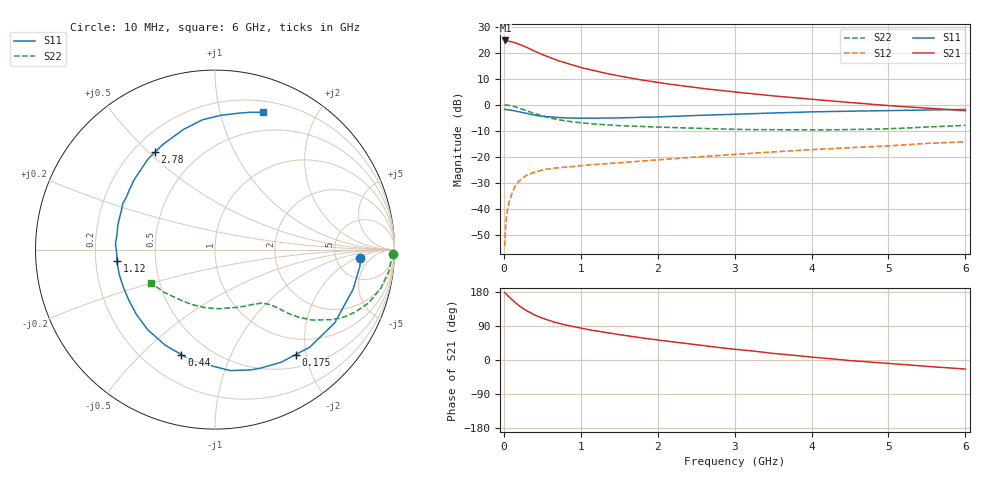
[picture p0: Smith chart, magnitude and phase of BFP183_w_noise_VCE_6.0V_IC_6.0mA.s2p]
! Infineon Technologies  Discrete & RF Semiconductors
! BFP183
! VCE = 6.0 V,  IC =  6.0 mA
! Common Emitter S-Parameters:  Jan 2016
# GHz  S  MA  R  50
!  f  S11  S21  S12  S22
! GHz  MAG  ANG  MAG  ANG  MAG  ANG  MAG  ANG
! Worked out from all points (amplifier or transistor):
!   210 points, 10 MHz to 6 GHz, reference 50 ohm
!   highest |S21| = 24.7 dB at 20 MHz (marker M1)
!   |S21| within 3 dB of that: start of sweep to 320.6 MHz
!   unconditionally stable (mu >= 1): 1.512 GHz to 5.776 GHz
!   at 185 MHz: K = 0.18, MSG = 26.6 dB, |S12| = -29.8 dB
!   at 1.52 GHz: K = 1.00, MAG = 16.3 dB, |S12| = -22.3 dB
!   at 6 GHz: K = 0.96, MSG = 6.0 dB, |S12| = -14.3 dB
!   lowest NFmin = 1.20 dB at 450 MHz
!   S11 on the Smith chart (normalised r, x): 10 MHz: 8.97, -2.38; 175 MHz: 0.71, -1.81; 440 MHz: 0.36, -0.67; 1.12 GHz: 0.29, -0.05; 2.78 GHz: 0.29, +0.52; 6 GHz: 0.31, +1.37
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0.01  0.8114 -3.2  17.11 178.0  0.0019 83.1  0.9914 -1.3
0.02  0.8129 -6.6  17.15 176.2  0.0039 86.0  0.9847 -2.7
0.05  0.8005 -16.0  16.85 169.8  0.0101 82.3  0.978 -6.7
0.1  0.782 -31.5  16.24 160.2  0.0186 73.9  0.9486 -13.1
0.15  0.7576 -45.8  15.4 151.2  0.0275 66.9  0.9073 -19.0
0.175  0.7374 -52.5  14.93 147.2  0.0308 63.7  0.8817 -21.3
0.2  0.7278 -59.5  14.53 143.0  0.0342 61.1  0.8576 -23.8
0.24  0.7074 -69.2  13.66 137.2  0.0385 57.2  0.817 -27.1
0.3  0.6795 -82.8  12.56 129.6  0.0443 51.3  0.7556 -31.1
0.4  0.633 -101.5  10.69 118.6  0.0507 45.5  0.6729 -35.7
0.44  0.6144 -107.7  10.06 115.6  0.0525 43.6  0.6458 -36.8
0.54  0.5902 -122.4  8.716 107.7  0.0565 39.8  0.5848 -39.4
0.7  0.5672 -140.8  7.06 97.6  0.0609 36.3  0.5153 -41.8
1.02  0.5505 -166.9  5.101 83.4  0.0673 33.6  0.4439 -44.5
1.12  0.5496 -173.2  4.701 79.5  0.0695 33.3  0.43 -45.3
1.5  0.5576 166.6  3.559 66.9  0.0763 33.9  0.395 -49.0
2.02  0.582 144.9  2.639 52.3  0.0876 34.3  0.3695 -56.0
2.78  0.6384 121.6  1.902 33.2  0.1051 33.6  0.3428 -70.2
3.1  0.6603 113.5  1.694 26.4  0.1129 32.8  0.3333 -77.2
4.1  0.7302 93.8  1.233 6.0  0.1389 28.8  0.3274 -103.3
5.1  0.7718 80.0  0.936 -10.6  0.1648 24.5  0.3483 -130.4
6  0.8108 70.6  0.767 -23.9  0.1932 17.5  0.401 -152.6
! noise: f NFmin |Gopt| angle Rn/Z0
0.45  1.2  0.21  41  0.24
0.9  1.25  0.24  101  0.21
1.8  2  0.32  175  0.14
